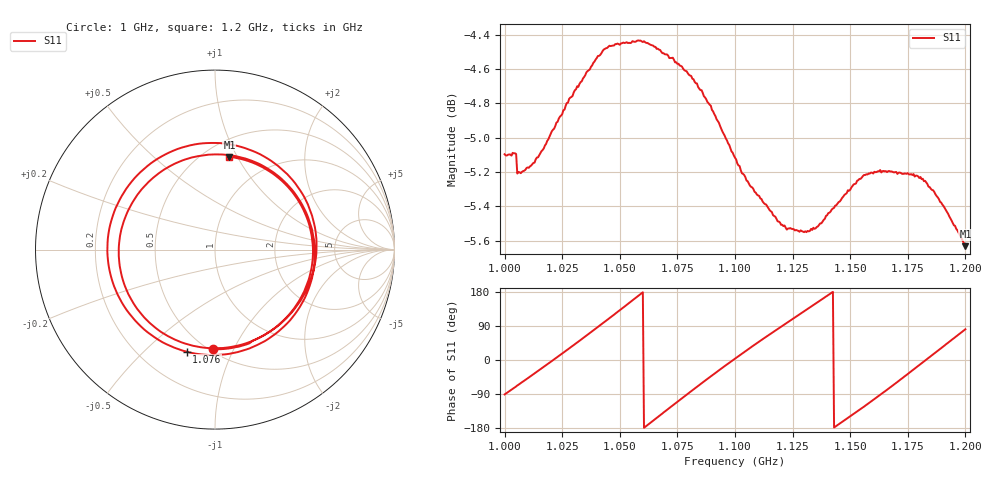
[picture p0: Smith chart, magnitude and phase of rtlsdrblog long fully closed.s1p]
! NanoVNA-App
! Date: 2026-05-22 22:11:51
! Start: 1GHz Stop: 1.2GHz Points: 401
! S-Parameter data: F S11
# Hz S RI R 50
!  Frequency  S11_Real  S11_Imag
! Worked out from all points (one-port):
!   401 points, 1 GHz to 1.2 GHz, reference 50 ohm
!   lowest |S11| = -5.6 dB at 1.2 GHz (marker M1), VSWR 3.19, Z = 32.6 + j46.4 ohm
!   |S11| at or under -10 dB: nowhere
!   S11 on the Smith chart (normalised r, x): 1 GHz: 0.52, -0.84; 1.076 GHz: 0.39, -0.68; 1.2 GHz: 0.65, +0.93
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1e9  -0.00879 -0.5561
1.007e9  0.2663 -0.4803
1.0145e9  0.4859 -0.2682
1.025e9  0.5462 0.1676
1.0315e9  0.4026 0.4205
1.0385e9  0.1202 0.5789
1.044e9  -0.1389 0.5808
1.05e9  -0.3946 0.45
1.056e9  -0.5628 0.2073
1.062e9  -0.5931 -0.0856
1.068e9  -0.478 -0.3555
1.075e9  -0.2043 -0.5545
1.076e9  -0.1587 -0.5685
1.086e9  0.2979 -0.4971
1.093e9  0.5041 -0.2619
1.1e9  0.5539 0.0335
1.113e9  0.2774 0.4608
1.125e9  -0.1649 0.5026
1.1385e9  -0.5096 0.1535
1.15e9  -0.4653 -0.2801
1.157e9  -0.2632 -0.4815
1.163e9  -0.018 -0.55
1.169e9  0.2348 -0.4967
1.175e9  0.4399 -0.3287
1.181e9  0.5406 -0.0834
1.1865e9  0.5181 0.1601
1.1935e9  0.3399 0.4102
1.2e9  0.0804 0.5167
